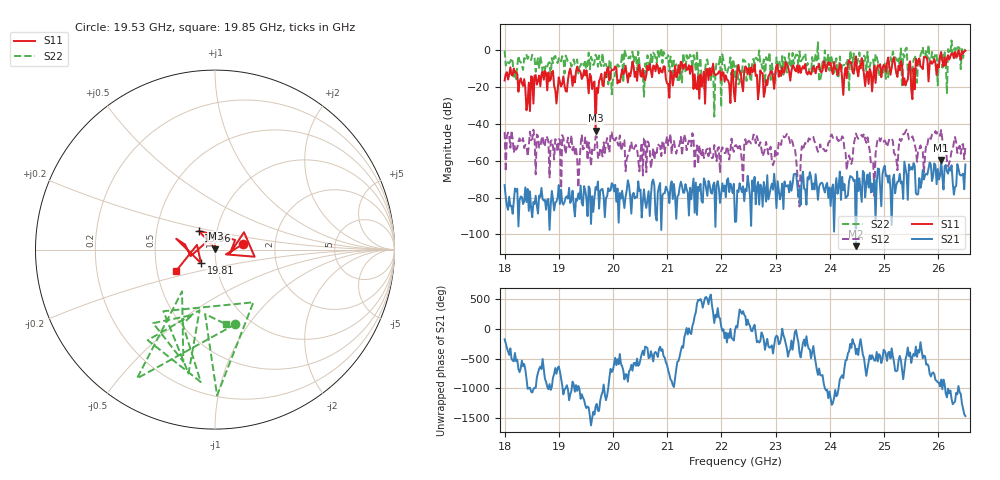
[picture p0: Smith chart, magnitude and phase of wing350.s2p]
!Keysight Technologies,N5242B,MY47200105,A.14.00.23
!Date: Friday, May 10, 2024 11:19:18
!Correction: S11(C  2-Port  )
!S21(C  2-Port  )
!S12(C  2-Port  )
!S22(C  2-Port  )
!S2P File: Measurement: :
# Hz S  RI  R 50
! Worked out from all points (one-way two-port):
!   401 points, 18 GHz to 26.5 GHz, reference 50 ohm
!   highest |S21| = -59.71 dB at 26.05 GHz (marker M1); lowest = -106.4 dB at 24.48 GHz (marker M2)
!   lowest |S11| = -43.8 dB at 19.68 GHz (marker M3), VSWR 1.01, Z = 50.2 + j0.615 ohm
!   |S11| at or under -10 dB: 18.11 GHz to 19.33 GHz (1.222 GHz wide, 6.53 % of centre); 19.35 GHz to 19.9 GHz (550.8 MHz wide, 2.81 % of centre); 21.86 GHz to 22.3 GHz (444.5 MHz wide, 2.01 % of centre) (the widest 3 of 57)
!   |S22| runs from -36.2 to 5.1 dB; largest |S21 - S12| = 0.0069
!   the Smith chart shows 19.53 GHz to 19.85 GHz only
!   S11 on the Smith chart (normalised r, x): 19.53 GHz: 1.37, +0.09; 19.66 GHz: 0.82, +0.17; 19.81 GHz: 0.85, -0.13; 19.85 GHz: 0.63, -0.16
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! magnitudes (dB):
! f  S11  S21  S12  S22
! 18 GHz  -16.6  -73.3  -44.5  -0.3
! 18.43 GHz  -28.7  -75.4  -57.7  -4.9
! 19.42 GHz  -15.7  -83.1  -45.9  -6.5
! 19.53 GHz  -15.9  -90.1  -59.7  -7.3
! 19.66 GHz  -17.2  -80.1  -54.2  -6.9
! 19.68 GHz  -43.8  -74.3  -46.8  -2.6
! 19.81 GHz  -19.3  -75.3  -57.8  -1.8
! 19.85 GHz  -12.1  -90.7  -55.9  -7.6
! 20.55 GHz  -10.2  -82.2  -68.1  -13.7
! 20.85 GHz  -12.8  -74.1  -51.8  -4.5
! 22.25 GHz  -27.9  -93.2  -51.9  -16.0
! 22.97 GHz  -21.1  -67.1  -60.5  -18.5
! 23.18 GHz  -6.5  -74.0  -46.9  -6.5
! 23.42 GHz  -12.4  -79.7  -74.7  -8.7
! 23.67 GHz  -10.7  -75.6  -47.1  -3.9
! 24.35 GHz  -5.6  -71.2  -57.2  -22.4
! 24.48 GHz  -3.6  -106.4  -45.3  -5.0
! 24.8 GHz  -14.4  -77.1  -61.3  -5.3
! 25.1 GHz  -9.1  -68.1  -48.2  -6.2
! 26.05 GHz  -1.3  -59.7  -43.4  -0.7
! 26.2 GHz  -5.2  -63.7  -61.3  -2.2
! 26.5 GHz  -0.5  -62.1  -52.9  0.4
